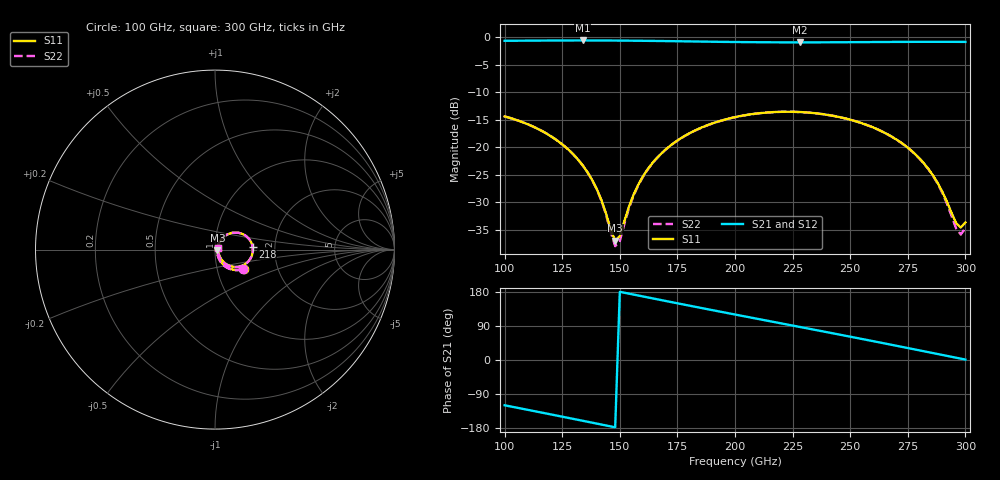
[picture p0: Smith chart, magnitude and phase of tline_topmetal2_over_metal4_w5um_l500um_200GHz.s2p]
#  GHZ S DB R 50
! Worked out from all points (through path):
!   101 points, 100 GHz to 300 GHz, reference 50 ohm
!   highest |S21| = -0.57 dB at 134 GHz (marker M1); lowest = -0.9 dB at 228 GHz (marker M2)
!   group delay of S21, straight-line fit = 3.31 ps
!   lowest |S11| = -37.0 dB at 148 GHz (marker M3), VSWR 1.03, Z = 51.4 - j0.309 ohm
!   |S11| at or under -10 dB: start of sweep to end of sweep
!   |S22| runs from -38.0 to -13.5 dB; largest |S21 - S12| = 1.6e-14
!   S11 on the Smith chart (normalised r, x): 100 GHz: 1.34, -0.30; 218 GHz: 1.53, +0.05; 300 GHz: 1.04, +0.02
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100  -14.37 -33.8  -0.63 -119.5  -0.63 -119.5  -14.37 -34.3
120  -17.95 -54.2  -0.58 -143.5  -0.58 -143.5  -17.94 -55.1
134  -23.32 -64.9  -0.57 -160.5  -0.57 -160.5  -23.33 -66.4
138  -25.92 -65.3  -0.57 -165.4  -0.57 -165.4  -25.94 -67.3
142  -29.56 -61.1  -0.58 -170.3  -0.58 -170.3  -29.66 -64.0
148  -36.97 -12.2  -0.59 -177.6  -0.59 -177.6  -37.95 -14.8
150  -36.11 21.3  -0.59 179.9  -0.59 179.9  -37.01 23.0
154  -30.74 51.3  -0.61 175.1  -0.61 175.1  -31.03 53.7
158  -26.78 57.7  -0.62 170.2  -0.62 170.2  -26.91 59.3
168  -21.10 54.8  -0.67 158.1  -0.67 158.1  -21.15 55.5
182  -17.06 42.3  -0.75 141.3  -0.75 141.3  -17.08 42.6
200  -14.50 23.8  -0.85 120.0  -0.85 120.0  -14.52 23.7
218  -13.56 4.7  -0.91 99.0  -0.91 99.0  -13.57 4.5
228  -13.57 -6.0  -0.92 87.4  -0.92 87.4  -13.58 -6.3
234  -13.76 -12.4  -0.91 80.4  -0.91 80.4  -13.76 -12.7
250  -14.97 -29.2  -0.89 61.5  -0.89 61.5  -14.97 -29.8
268  -18.04 -46.9  -0.84 40.0  -0.84 40.0  -18.05 -48.0
282  -22.90 -56.5  -0.82 23.1  -0.82 23.1  -22.95 -58.4
290  -28.06 -52.7  -0.82 13.3  -0.82 13.3  -28.27 -56.1
296  -33.77 -22.1  -0.82 6.0  -0.82 6.0  -34.74 -26.0
298  -34.58 1.1  -0.83 3.6  -0.83 3.6  -35.83 0.5
300  -33.63 23.8  -0.83 1.1  -0.83 1.1  -34.66 26.7
